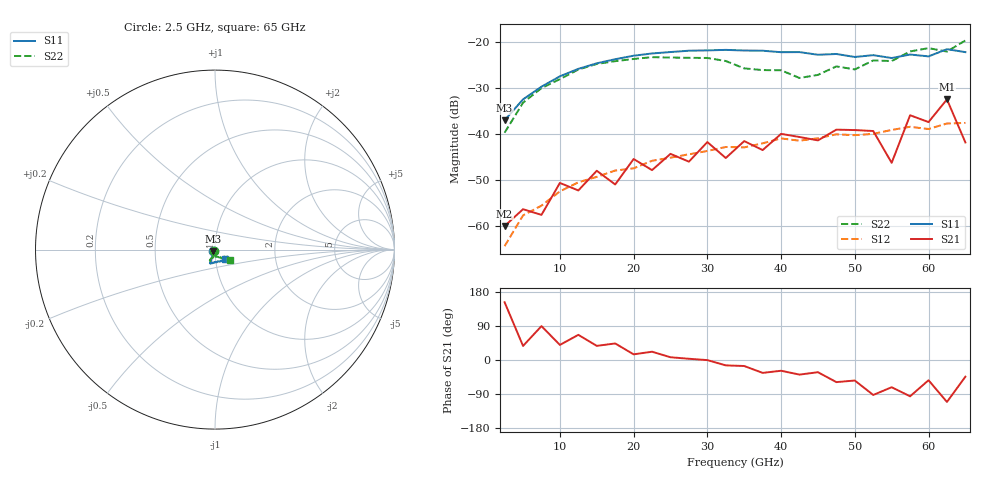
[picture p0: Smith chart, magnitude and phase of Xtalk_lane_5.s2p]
! File created by SignalIntegrity v1.5.1: Signal and Power Integrity Tools
! https://github.com/Nubis-Communications/SignalIntegrity
# MHz S MA R 50.0
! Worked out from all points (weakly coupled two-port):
!   26 points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, 2.5 GHz to 65 GHz, reference 50 ohm
!   highest |S21| = -32.50 dB at 62.5 GHz (marker M1); lowest = -60.0 dB at 2.5 GHz (marker M2)
!   lowest |S11| = -37.0 dB at 2.5 GHz (marker M3), VSWR 1.03, Z = 49 - j0.937 ohm
!   |S11| at or under -10 dB: start of sweep to end of sweep
!   |S22| runs from -39.7 to -19.7 dB; largest |S21 - S12| = 0.012
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2500  0.01408 -137.2  0.001001 152.3  0.0006048 82.0  0.01032 -132.2
5000  0.02374 -121.9  0.001523 37.1  0.001305 66.4  0.02181 -104.3
7500  0.03257 -111.8  0.001322 89.4  0.001667 66.2  0.03143 -106.5
10000  0.04222 -111.8  0.002937 39.8  0.00238 58.8  0.03936 -102.2
12500  0.05088 -108.7  0.002436 66.4  0.002985 46.8  0.05002 -108.2
15000  0.05846 -110.7  0.003984 37.3  0.003421 40.2  0.05754 -108.9
17500  0.06474 -108.8  0.002828 43.7  0.004004 35.4  0.06167 -111.4
20000  0.07067 -110.6  0.005342 14.9  0.004235 26.6  0.06515 -116.0
22500  0.07476 -109.7  0.004047 21.9  0.005113 21.0  0.06818 -114.3
25000  0.07747 -110.7  0.00608 7.2  0.005528 13.3  0.06753 -113.9
27500  0.0801 -109.3  0.005001 3.2  0.006014 0.1  0.06703 -115.5
30000  0.08073 -110.7  0.008162 -0.3  0.006535 -3.6  0.06683 -114.2
32500  0.08177 -108.3  0.005478 -14.2  0.007216 -8.8  0.06191 -115.2
35000  0.08049 -109.2  0.008361 -15.9  0.007149 -20.7  0.05149 -113.7
37500  0.08009 -105.6  0.00668 -34.0  0.00791 -25.2  0.04935 -109.7
45000  0.07239 -99.2  0.00851 -32.3  0.008982 -51.5  0.04375 -67.9
52500  0.07165 -82.7  0.01076 -92.3  0.01002 -72.0  0.06277 -37.2
55000  0.0667 -77.1  0.004859 -71.8  0.01106 -78.4  0.06185 -52.5
57500  0.07277 -68.2  0.01595 -95.8  0.01196 -90.2  0.07863 -43.6
60000  0.06951 -62.9  0.01346 -53.4  0.01131 -89.7  0.08542 -36.5
62500  0.08319 -54.6  0.02371 -110.7  0.01298 -92.2  0.07837 -29.5
65000  0.07727 -45.3  0.00808 -44.0  0.01317 -105.8  0.1035 -34.0
